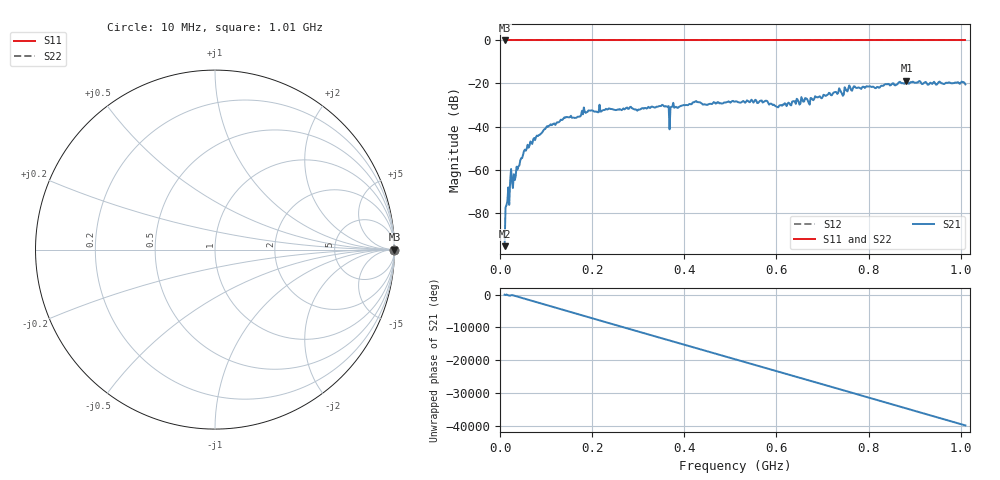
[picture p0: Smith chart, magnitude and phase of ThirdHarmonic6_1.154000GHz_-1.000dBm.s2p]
! 8/16/2025 11:29:52 AM
! C:\ANRITSUVNA\TEMP\TEMP.S2P
! CHANNEL.1
! TR.MEASUREMENT
! RAW.DATA
! RF.CORRECTION.OFF
! AVERAGING.OFF
! IF.BANDWIDTH: 5KHZ
! SWEEPTYPE:  FREQ.SWEEP(Linear)
! Reference Plane Port Info
! PORT:  PORT1  PORT2
! DISTANCE:  0  m  0  m
! TIME:  0  s  0  s
! PHASE.OFFSET:  0  deg.  0  deg.
! LOSS:  0  dB  0  dB
! REF.LOSS:  0  dB  0  dB
! REF.FREQ:  0  Hz  0  Hz
! Power Info
! POWER:  -20  dBm  -20  dBm
! EFF.POWER:  -20  dBm  -20  dBm
! SOURCE.ATTEN:  0  dB  0  dB
! TEST.ATTEN:  0  dB  0  dB
# GHZ S RI R 50.0
! FREQ.GHZ  S11RE  S11IM  S21RE  S21IM  S12RE  S12IM  S22RE  S22IM
!; PortSelection: Port_12
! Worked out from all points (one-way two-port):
!   501 points, 10 MHz to 1.01 GHz, reference 50 ohm
!   highest |S21| = -18.76 dB at 882 MHz (marker M1); lowest = -95.6 dB at 10 MHz (marker M2)
!   lowest |S11| = 0.0 dB at 10 MHz (marker M3)
!   |S11| at or under -10 dB: nowhere
!   |S22| runs from 0.0 to 0.0 dB; largest |S21 - S12| = 1.1
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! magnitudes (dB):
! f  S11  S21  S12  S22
! 10 MHz  0.0  -95.6  0.0  0.0
! 16 MHz  0.0  -74.7  0.0  0.0
! 20 MHz  0.0  -76.4  0.0  0.0
! 26 MHz  0.0  -65.5  0.0  0.0
! 30 MHz  0.0  -62.2  0.0  0.0
! 56 MHz  0.0  -51.2  0.0  0.0
! 106 MHz  0.0  -39.7  0.0  0.0
! 178 MHz  0.0  -32.7  0.0  0.0
! 344 MHz  0.0  -30.7  0.0  0.0
! 362 MHz  0.0  -30.7  0.0  0.0
! 364 MHz  0.0  -30.8  0.0  0.0
! 370 MHz  0.0  -31.0  0.0  0.0
! 374 MHz  0.0  -30.8  0.0  0.0
! 422 MHz  0.0  -28.7  0.0  0.0
! 510 MHz  0.0  -28.4  0.0  0.0
! 576 MHz  0.0  -28.0  0.0  0.0
! 602 MHz  0.0  -31.0  0.0  0.0
! 678 MHz  0.0  -27.3  0.0  0.0
! 770 MHz  0.0  -21.4  0.0  0.0
! 844 MHz  0.0  -20.3  0.0  0.0
! 882 MHz  0.0  -18.8  0.0  0.0
! 1.01 GHz  0.0  -20.4  0.0  0.0
